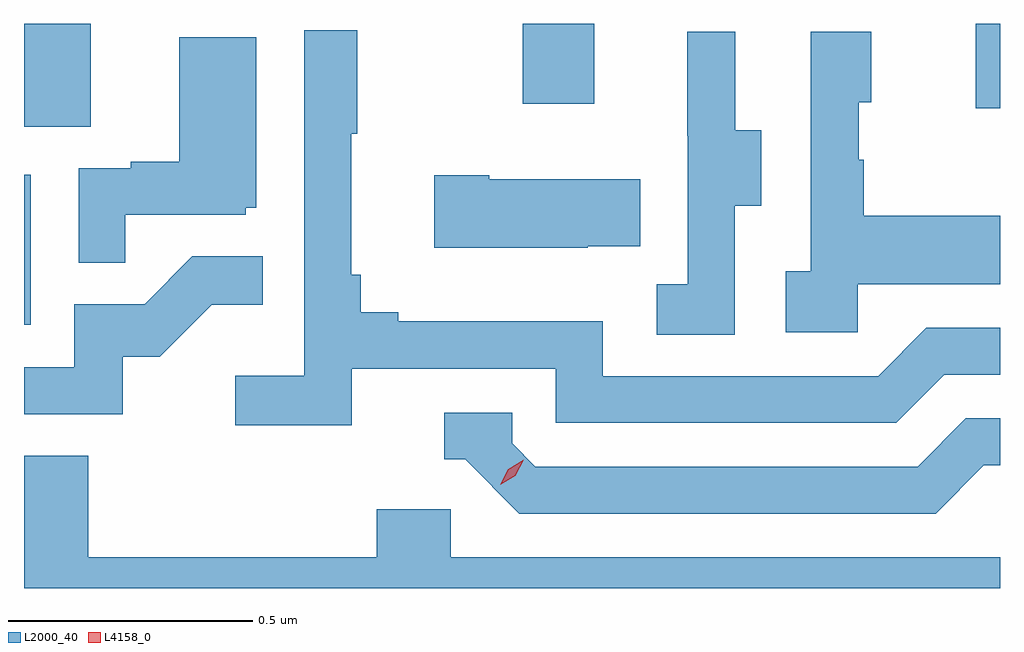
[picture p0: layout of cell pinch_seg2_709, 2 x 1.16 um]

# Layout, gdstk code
import gdstk
lib = gdstk.Library(unit=1e-6, precision=1e-09)
def R(c, l, rs):  # rectangles x0, y0, x1, y1
    for r in rs: c.add(gdstk.rectangle(r[:2], r[2:], *l))
def P(c, l, *ps):  # polygons
    for p in ps: c.add(gdstk.Polygon(p, *l))
L2000_40 = (2000, 40)
L4158_0 = (4158, 0)

pinch_seg2_709 = lib.new_cell('pinch_seg2_709')
R(pinch_seg2_709, L2000_40, [(1086.104,584.34,1086.118,584.647), (1086.104,584.746,1086.241,584.957), (1088.054,584.784,1088.104,584.957), (1087.126,584.793,1087.273,584.957)])
P(pinch_seg2_709, L2000_40, [(1086.776,584.25),(1087.194,584.25),(1087.194,584.139),(1087.891,584.139),(1087.99,584.238),(1088.104,584.238),(1088.104,584.334),(1087.953,584.334),(1087.854,584.235),(1087.29,584.235),(1087.29,584.347),(1086.871,584.347),(1086.871,584.366),(1086.794,584.366),(1086.794,584.443),(1086.775,584.443),(1086.775,584.731),(1086.787,584.731),(1086.787,584.944),(1086.678,584.944),(1086.678,584.236),(1086.537,584.236),(1086.537,584.134),(1086.776,584.134)],
  [(1087.812,584.423),(1088.104,584.423),(1088.104,584.563),(1087.825,584.563),(1087.825,584.678),(1087.815,584.678),(1087.815,584.796),(1087.84,584.796),(1087.84,584.941),(1087.716,584.941),(1087.716,584.45),(1087.665,584.45),(1087.665,584.325),(1087.812,584.325)],
  [(1087.56,584.584),(1087.615,584.584),(1087.615,584.739),(1087.561,584.739),(1087.561,584.941),(1087.463,584.941),(1087.463,584.727),(1087.464,584.727),(1087.464,584.423),(1087.401,584.423),(1087.401,584.32),(1087.56,584.32)],
  [(1086.311,584.565),(1086.558,584.565),(1086.558,584.58),(1086.58,584.58),(1086.58,584.929),(1086.422,584.929),(1086.422,584.674),(1086.323,584.674),(1086.323,584.661),(1086.216,584.661),(1086.216,584.467),(1086.311,584.467)],
  [(1087.259,584.501),(1087.367,584.501),(1087.367,584.638),(1087.057,584.638),(1087.057,584.646),(1086.945,584.646),(1086.945,584.498),(1087.259,584.498)],
  [(1086.306,584.274),(1086.382,584.274),(1086.489,584.381),(1086.593,584.381),(1086.593,584.48),(1086.449,584.48),(1086.351,584.382),(1086.207,584.382),(1086.207,584.253),(1086.104,584.253),(1086.104,584.157),(1086.306,584.157)],
  [(1088.071,584.052),(1088.104,584.052),(1088.104,584.148),(1088.034,584.148),(1087.935,584.049),(1087.152,584.049),(1087.104,584.097),(1087.104,584.16),(1086.965,584.16),(1086.965,584.064),(1087.008,584.064),(1087.119,583.953),(1087.972,583.953)],
  [(1088.104,583.864),(1086.978,583.864),(1086.978,583.962),(1086.827,583.962),(1086.827,583.864),(1086.236,583.864),(1086.236,584.072),(1086.104,584.072),(1086.104,583.8),(1088.104,583.8)])
P(pinch_seg2_709, L4158_0, [(1087.08,584.012),(1087.08,584.012),(1087.096,584.044),(1087.128,584.063),(1087.128,584.063),(1087.128,584.063),(1087.111,584.031),(1087.08,584.012)])

lib.write_gds('pinch_seg2_709.gds')
